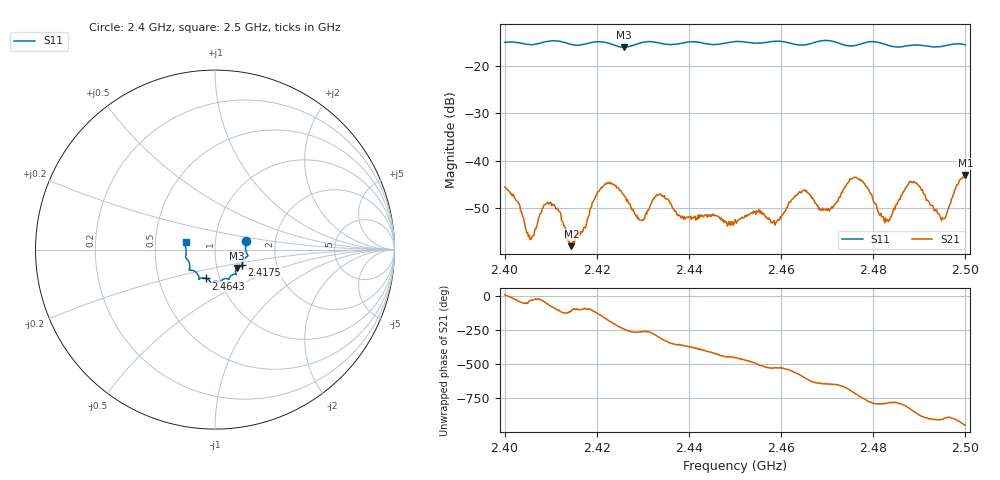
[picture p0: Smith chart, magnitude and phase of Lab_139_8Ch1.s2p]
# Hz S RI R 50
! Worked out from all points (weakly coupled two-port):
!   601 points, 2.4 GHz to 2.5 GHz, reference 50 ohm
!   highest |S21| = -43.15 dB at 2.5 GHz (marker M1); lowest = -58.2 dB at 2.4145 GHz (marker M2)
!   lowest |S11| = -15.9 dB at 2.4258 GHz (marker M3), VSWR 1.38, Z = 62.3 - j13.2 ohm
!   |S11| at or under -10 dB: start of sweep to end of sweep
!   S12 and S22 are empty: the file has one direction only
!   S11 on the Smith chart (normalised r, x): 2.4 GHz: 1.41, +0.14; 2.4175 GHz: 1.33, -0.23; 2.4643 GHz: 0.86, -0.28; 2.5 GHz: 0.72, +0.06
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2.4e9  0.1731 0.0485  0.00518 0.00081  0 0  0 0
2.402833e9  0.1754 0.0361  0.00292 -0.00224  0 0  0 0
2.405333e9  0.1704 0.0104  0.00123 -0.00105  0 0  0 0
2.4095e9  0.1822 -0.0316  0.00147 -0.00326  0 0  0 0
2.4145e9  0.1632 -0.0503  -0.000492 -0.00113  0 0  0 0
2.416667e9  0.1524 -0.0739  -0.000339 -0.00167  0 0  0 0
2.4175e9  0.1513 -0.0834  -0.000204 -0.00192  0 0  0 0
2.421833e9  0.1528 -0.0957  -0.00539 -0.00159  0 0  0 0
2.425833e9  0.1219 -0.1029  -0.00208 0.00384  0 0  0 0
2.429667e9  0.1164 -0.1356  -0.00027 0.00229  0 0  0 0
2.433333e9  0.1136 -0.1373  0.00218 0.00368  0 0  0 0
2.438667e9  0.0803 -0.1581  0.00247 -0.000182  0 0  0 0
2.45e9  0.0282 -0.1814  -0.000213 -0.00235  0 0  0 0
2.459167e9  -0.0236 -0.1838  -0.00223 -0.000548  0 0  0 0
2.464333e9  -0.05 -0.1608  -0.00322 0.00316  0 0  0 0
2.466667e9  -0.0764 -0.1586  -5.45e-05 0.00397  0 0  0 0
2.4705e9  -0.0888 -0.1648  0.000955 0.00275  0 0  0 0
2.476333e9  -0.1198 -0.1173  0.00661 -0.000241  0 0  0 0
2.483333e9  -0.1406 -0.0897  0.000984 -0.00202  0 0  0 0
2.488333e9  -0.1612 -0.0473  -0.00263 -0.00525  0 0  0 0
2.495167e9  -0.1634 0.0121  -0.00241 0.000281  0 0  0 0
2.5e9  -0.1642 0.0432  -0.00448 0.00532  0 0  0 0
